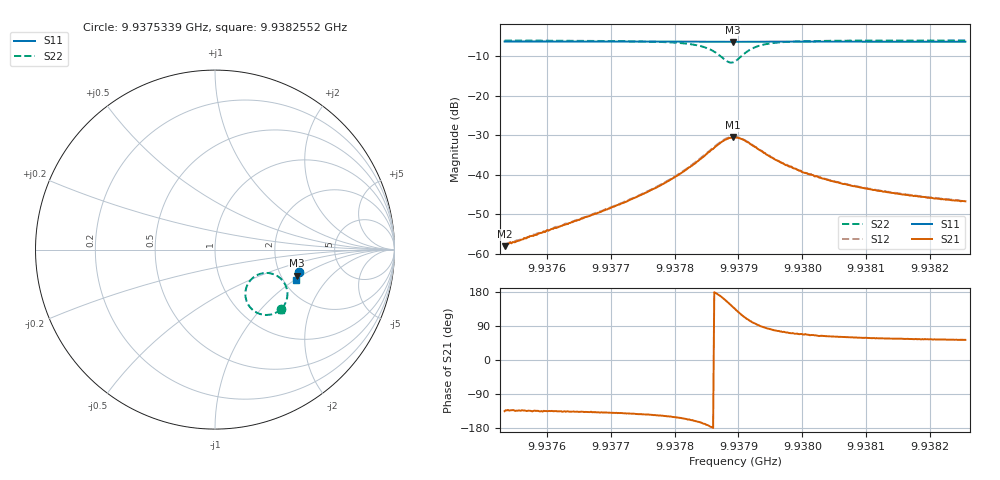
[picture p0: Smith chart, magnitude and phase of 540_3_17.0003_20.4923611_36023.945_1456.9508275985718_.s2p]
#  HZ  S  RI  R  50.00
! Rohde & Schwarz Vector Network Analyzer
! Rohde-Schwarz,ZNB20-2Port,1311601062101988,3.16
! Created: UTC 3/20/2024, 11:16:17 PM
! freq[Hz]  re:S11  im:S11  re:S21  im:S21  re:S12  im:S12  re:S22  im:S22
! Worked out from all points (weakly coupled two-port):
!   401 points, 9.9375339 GHz to 9.9382552 GHz, reference 50 ohm
!   highest |S21| = -30.53 dB at 9.9378909 GHz (marker M1); lowest = -58.1 dB at 9.9375339 GHz (marker M2)
!   lowest |S11| = -6.4 dB at 9.9378909 GHz (marker M3), VSWR 2.83, Z = 121 - j45.7 ohm
!   |S11| at or under -10 dB: nowhere
!   |S22| runs from -11.7 to -6.1 dB; largest |S21 - S12| = 0.0013
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9.93753385e9  0.4665 -0.1237  -0.000883 -0.000885  -0.00091 -0.000942  0.3677 -0.3327
9.93765468e9  0.4637 -0.1318  -0.00202 -0.00193  -0.0021 -0.0019  0.3516 -0.3448
9.93772322e9  0.4618 -0.1365  -0.00351 -0.00286  -0.0036 -0.00286  0.335 -0.3538
9.93777552e9  0.4604 -0.1402  -0.00596 -0.00397  -0.00615 -0.00393  0.3115 -0.3614
9.93781339e9  0.4591 -0.1425  -0.00981 -0.00476  -0.0101 -0.00469  0.2781 -0.3638
9.93783323e9  0.4582 -0.144  -0.0134 -0.00443  -0.014 -0.00432  0.2482 -0.3579
9.93784946e9  0.4572 -0.1451  -0.0179 -0.00287  -0.0183 -0.00285  0.2148 -0.3399
9.93786208e9  0.4562 -0.1455  -0.022 0.000424  -0.0225 0.000855  0.1858 -0.3074
9.93787471e9  0.4554 -0.1456  -0.0255 0.0069  -0.0257 0.00779  0.1692 -0.2496
9.93788373e9  0.4551 -0.1454  -0.0251 0.0136  -0.0253 0.0147  0.1804 -0.197
9.93789094e9  0.4549 -0.1453  -0.0229 0.019  -0.0226 0.0201  0.2085 -0.1596
9.93789455e9  0.4552 -0.1451  -0.0208 0.0209  -0.0205 0.0222  0.2276 -0.1457
9.93790356e9  0.4556 -0.1453  -0.0146 0.0244  -0.0139 0.0252  0.281 -0.13
9.93791619e9  0.4561 -0.1458  -0.00665 0.0245  -0.00576 0.0247  0.3429 -0.1446
9.93793603e9  0.4565 -0.1474  0.000559 0.0199  0.000966 0.0201  0.3896 -0.1919
9.93797029e9  0.4564 -0.1505  0.00376 0.0133  0.00422 0.0133  0.4034 -0.2495
9.93799554e9  0.4558 -0.1524  0.0042 0.0105  0.00423 0.0104  0.4007 -0.2726
9.93801538e9  0.4554 -0.1539  0.00408 0.00908  0.00434 0.00906  0.3977 -0.2851
9.9380767e9  0.4537 -0.1581  0.00366 0.00627  0.00382 0.00627  0.3875 -0.3082
9.93813621e9  0.4523 -0.1621  0.00328 0.00497  0.00341 0.00502  0.3792 -0.3207
9.93819753e9  0.4503 -0.166  0.00297 0.00416  0.00311 0.00419  0.3726 -0.3292
9.93825524e9  0.4488 -0.1696  0.00277 0.00369  0.00286 0.00364  0.3672 -0.3356
